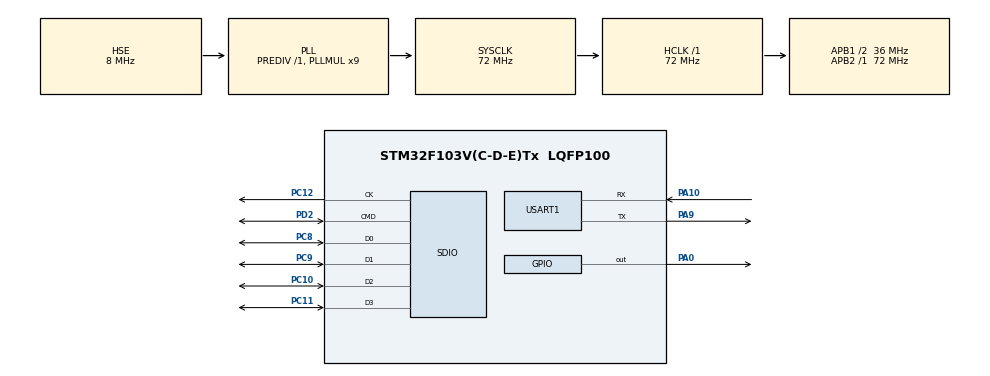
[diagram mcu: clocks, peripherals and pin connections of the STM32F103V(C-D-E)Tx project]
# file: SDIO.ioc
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Dma.Request0=USART1_RX
Dma.Request1=SDIO
Dma.SDIO.1.Direction=DMA_PERIPH_TO_MEMORY
Dma.SDIO.1.Instance=DMA2_Channel4
Dma.SDIO.1.MemDataAlignment=DMA_MDATAALIGN_WORD
Dma.SDIO.1.MemInc=DMA_MINC_ENABLE
Dma.SDIO.1.Mode=DMA_NORMAL
Dma.SDIO.1.PeriphDataAlignment=DMA_PDATAALIGN_WORD
Dma.SDIO.1.PeriphInc=DMA_PINC_DISABLE
Dma.SDIO.1.Priority=DMA_PRIORITY_LOW
Dma.USART1_RX.0.Direction=DMA_PERIPH_TO_MEMORY
Dma.USART1_RX.0.Instance=DMA1_Channel5
Dma.USART1_RX.0.MemDataAlignment=DMA_MDATAALIGN_BYTE
Dma.USART1_RX.0.MemInc=DMA_MINC_ENABLE
Dma.USART1_RX.0.Mode=DMA_NORMAL
Dma.USART1_RX.0.PeriphDataAlignment=DMA_PDATAALIGN_BYTE
Dma.USART1_RX.0.PeriphInc=DMA_PINC_DISABLE
Dma.USART1_RX.0.Priority=DMA_PRIORITY_LOW
Mcu.Family=STM32F1
Mcu.Name=STM32F103V(C-D-E)Tx
Mcu.Package=LQFP100
NVIC.DMA1_Channel5_IRQn=true\:0\:0\:false\:false\:true\:false\:true\:true
NVIC.DMA2_Channel4_5_IRQn=true\:0\:0\:false\:false\:true\:false\:true\:true
NVIC.PriorityGroup=NVIC_PRIORITYGROUP_4
NVIC.SDIO_IRQn=true\:0\:0\:false\:false\:true\:true\:true\:true
NVIC.USART1_IRQn=true\:0\:0\:false\:false\:true\:true\:true\:true
OSC_IN.Mode=HSE-External-Oscillator
OSC_IN.Signal=RCC_OSC_IN
OSC_OUT.Mode=HSE-External-Oscillator
OSC_OUT.Signal=RCC_OSC_OUT
PA0-WKUP.GPIO_ModeDefaultOutputPP=GPIO_MODE_OUTPUT_PP
PA0-WKUP.PinState=GPIO_PIN_SET
PA0-WKUP.Signal=GPIO_Output
PA10.Mode=Asynchronous
PA10.Signal=USART1_RX
PA13.Mode=Serial_Wire
PA13.Signal=SYS_JTMS-SWDIO
PA14.Mode=Serial_Wire
PA14.Signal=SYS_JTCK-SWCLK
PA9.Mode=Asynchronous
PA9.Signal=USART1_TX
PC10.Mode=SD_4_bits_Wide_bus
PC10.Signal=SDIO_D2
PC11.Mode=SD_4_bits_Wide_bus
PC11.Signal=SDIO_D3
PC12.Mode=SD_4_bits_Wide_bus
PC12.Signal=SDIO_CK
PC14-OSC32_IN.Mode=LSE-External-Oscillator
PC14-OSC32_IN.Signal=RCC_OSC32_IN
PC15-OSC32_OUT.Mode=LSE-External-Oscillator
PC15-OSC32_OUT.Signal=RCC_OSC32_OUT
PC8.Mode=SD_4_bits_Wide_bus
PC8.Signal=SDIO_D0
PC9.Mode=SD_4_bits_Wide_bus
PC9.Signal=SDIO_D1
PD2.Mode=SD_4_bits_Wide_bus
PD2.Signal=SDIO_CMD
ProjectManager.HeapSize=0x200
ProjectManager.StackSize=0x400
ProjectManager.TargetToolchain=MDK-ARM V5
RCC.AHBFreq_Value=72000000
RCC.APB1CLKDivider=RCC_HCLK_DIV2
RCC.APB1Freq_Value=36000000
RCC.APB1TimFreq_Value=72000000
RCC.APB2Freq_Value=72000000
RCC.APB2TimFreq_Value=72000000
RCC.HCLKFreq_Value=72000000
RCC.PLLMUL=RCC_PLL_MUL9
RCC.PLLSourceVirtual=RCC_PLLSOURCE_HSE
RCC.SYSCLKFreq_VALUE=72000000
RCC.SYSCLKSource=RCC_SYSCLKSOURCE_PLLCLK
RCC.USBFreq_Value=72000000
SDIO.ClockDiv=6
USART1.VirtualMode=VM_ASYNC
VP_FATFS_VS_SDIO.Mode=SDIO
board=custom

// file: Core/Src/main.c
/* USER CODE BEGIN Header */
/**
  ******************************************************************************
  * @file           : main.c
  * @brief          : Main program body
  * @author         : MCU Electronics Technology
  * @version        : V1.0
  * @date           : 2024-01-01
  * @note           : UART DMA Demo with IDLE detection
  ******************************************************************************
  */
/* USER CODE END Header */
#include "main.h"
#include "dma.h"
#include "fatfs.h"
#include "sdio.h"
#include "usart.h"
#include "gpio.h"

/* USER CODE BEGIN Includes */
#include "stdio.h"
#include "string.h"
#include "ff.h"
/* USER CODE END Includes */

/* USER CODE BEGIN PV */
uint8_t bsp_uart0_rx_buff[USART_BUFFER_SIZE];

FATFS fs;                       /* FatFs 文件系统对象 */
FIL file;                       /* 文件对象 */
FRESULT f_res;                  /* 文件操作结果 */
UINT fnum;                      /* 文件成功读写数量 */
BYTE ReadBuffer[1024] = {0};    /* 读缓冲区 */
BYTE WriteBuffer[] =            /* 写缓冲区 */
    "This is MCU Electronics Technology STM32 working with FatFs\r\n"
    "Board: Mcore_MainBoard V1.0\r\n";

HAL_SD_CardInfoTypeDef SDCardInfo;  /* SD卡信息结构体 */
char sd_info_buffer[100];           /* SD卡信息显示缓冲区 */
const TCHAR *FILE_PATH = "0:/test.txt";  /* 文件路径（注意：使用正斜杠） */

/* USER CODE END PV */

void SystemClock_Config(void);

/* USER CODE BEGIN 0 */
void HAL_UARTEx_RxEventCallback(UART_HandleTypeDef *huart, uint16_t Size)
{
    if(huart->Instance == USART1)
    {
        // Add string terminator to the end of received data
        bsp_uart0_rx_buff[Size] = '\0';

        // Echo received data with proper format
        printf("[UART] Recv: %s", bsp_uart0_rx_buff);

        // If the received data doesn't end with \r\n, add it
        if (Size < 2 || bsp_uart0_rx_buff[Size-2] != '\r' || bsp_uart0_rx_buff[Size-1] != '\n') {
            printf("\r\n");
        }

        // Restart DMA reception
        HAL_UARTEx_ReceiveToIdle_DMA(&huart1, bsp_uart0_rx_buff, USART_BUFFER_SIZE);
        __HAL_DMA_DISABLE_IT(&hdma_usart1_rx, DMA_IT_HT);
    }
}

#ifdef __GNUC__
#define PUTCHAR_PROTOTYPE int __io_putchar(int ch)
#else
#define PUTCHAR_PROTOTYPE int fputc(int ch, FILE *f)
#endif

// Redirect printf to UART
PUTCHAR_PROTOTYPE
{
    HAL_UART_Transmit(&huart1, (uint8_t *)&ch, 1, HAL_MAX_DELAY);
    return ch;
}
/* USER CODE END 0 */

int main(void)
{

  /* MCU Configuration--------------------------------------------------------*/

  /* Reset of all peripherals, Initializes the Flash interface and the Systick. */
  HAL_Init();

  /* Configure the system clock */
  SystemClock_Config();

  /* Initialize all configured peripherals */
  MX_GPIO_Init();
  MX_DMA_Init();
  MX_USART1_UART_Init();
  MX_SDIO_SD_Init();
  MX_FATFS_Init();
  /* USER CODE BEGIN 2 */

  printf("\r\n");
  printf("************************************************\r\n");
  printf("*        MCU Electronics Technology Co.         *\r\n");
  printf("*          Mcore_MainBoard V1.0                *\r\n");
  printf("*     Website: https://gitee.com/Ahypnis        *\r\n");
  printf("************************************************\r\n");
  printf("UART Configuration:\r\n");
  printf("- Baud Rate: 115200\r\n");
  printf("- Data Bits: 8\r\n");
  printf("- Stop Bits: 1\r\n");
  printf("- Parity: None\r\n");
  printf("\r\n");

  printf("=================== SD Card Test ===================\r\n");

  // 初始化SD卡
  printf("Step 1: Initializing SD Card\r\n");
  if(HAL_SD_Init(&hsd) != HAL_OK)
  {
      printf(">> SD Card initialization failed!\r\n");
      Error_Handler();
  }

  // 获取并显示SD卡信息
  printf("\r\nStep 2: Reading SD Card Information\r\n");
  if(HAL_SD_GetCardInfo(&hsd, &SDCardInfo) == HAL_OK)
  {
      printf(">> SD Card Information:\r\n");
      printf("- Card Type: ");
      switch(SDCardInfo.CardType)
      {
          case CARD_SDSC: printf("SDSC Card\r\n"); break;
          case CARD_SDHC_SDXC: printf("SDHC/SDXC Card\r\n"); break;
          default: printf("Unknown Card\r\n");
      }
      printf("- Card Version: %d\r\n", (int)SDCardInfo.CardVersion);
      printf("- Card Class: %d\r\n", (int)SDCardInfo.Class);
      printf("- Card Capacity: %d MB\r\n", (int)(SDCardInfo.BlockNbr / 2048)); // 转换为MB
      printf("- Block Size: %d Bytes\r\n", (int)SDCardInfo.BlockSize);
      printf("- Block Numbers: %d\r\n", (int)SDCardInfo.BlockNbr);

      // 验证卡信息是否有效
      if(SDCardInfo.BlockSize == 0 || SDCardInfo.BlockNbr == 0)
      {
          printf(">> Warning: Invalid card parameters detected!\r\n");
      }
  }
  else
  {
      printf(">> Failed to get SD card information!\r\n");
      Error_Handler();
  }
  printf("\r\n");

  // Start DMA reception
  HAL_UARTEx_ReceiveToIdle_DMA(&huart1, bsp_uart0_rx_buff, USART_BUFFER_SIZE);
  __HAL_DMA_DISABLE_IT(&hdma_usart1_rx, DMA_IT_HT);  // Disable DMA half transfer interrupt

  printf("=============== FatFs Test Start ================\r\n");

  //在外部 SD 卡挂载文件系统，文件系统挂载时会对 SD 卡初始化
  printf("Step 3: Mounting File System\r\n");
  f_res = f_mount(&fs, "0:", 1);

  /*----------------------- 格式化测试 ---------------------------*/
  if(f_res == FR_NO_FILESYSTEM)
  {
      printf("No file system detected, formatting SD card...\r\n");
      /* 格式化 */
      BYTE sfd = 1;      /* 使用SFD分区方式 */
      UINT au = 0;       /* 自动选择簇大小 */

      f_res = f_mkfs("0:", sfd, au);
      if(f_res == FR_OK)
      {
          printf(">> Format successful!\r\n");
          /* 格式化后，先取消挂载 */
          f_res = f_mount(NULL, "0:", 1);
          /* 重新挂载 */
          f_res = f_mount(&fs, "0:", 1);
      }
      else
      {
          printf(">> Format failed! Error code: %d\r\n", f_res);
          printf("Error details: ");
          switch(f_res) {
              case FR_NOT_READY: printf("SD card not ready or not present\r\n"); break;
              case FR_DISK_ERR: printf("Hard error occurred in low level disk I/O\r\n"); break;
              case FR_WRITE_PROTECTED: printf("SD card is write protected\r\n"); break;
              default: printf("Unknown error\r\n");
          }
          Error_Handler();
      }
  }
  else if(f_res != FR_OK)
  {
      printf(">> Mount failed! Error code: %d\r\n", f_res);
      printf("Error details: ");
      switch(f_res) {
          case FR_NOT_READY: printf("SD card not ready or not present\r\n"); break;
          case FR_DISK_ERR: printf("Hard error occurred in low level disk I/O\r\n"); break;
          case FR_INVALID_DRIVE: printf("Invalid drive number\r\n"); break;
          default: printf("Unknown error\r\n");
      }
      Error_Handler();
  }
  else
  {
      printf(">> Mount successful!\r\n");

      // 显示可用空间信息
      DWORD fre_clust, fre_sect, tot_sect;
      FATFS *fs_ptr = &fs;
      f_res = f_getfree("0:", &fre_clust, &fs_ptr);
      if(f_res == FR_OK) {
          tot_sect = (fs_ptr->n_fatent - 2) * fs_ptr->csize;
          fre_sect = fre_clust * fs_ptr->csize;
          printf("SD Card Space Info:\r\n");
          printf("- Total Space: %lu MB\r\n", tot_sect / 2048);
          printf("- Free Space: %lu MB\r\n", fre_sect / 2048);
          printf("- Used Space: %lu MB\r\n", (tot_sect - fre_sect) / 2048);
      }
  }
  printf("\r\n");

  /*----------------------- 文件系统测试：写测试 -----------------------------*/
  /* 打开文件，如果文件不存在则创建它 */
  printf("Step 4: File Write Test\r\n");
  printf("Creating file: %s\r\n", FILE_PATH);

  f_res = f_open(&file, FILE_PATH, FA_CREATE_ALWAYS | FA_WRITE);
  if(f_res == FR_OK)
  {
      printf(">> File created successfully\r\n");
      /* 将指定存储区内容写入到文件内 */
      f_res = f_write(&file, WriteBuffer, strlen((char *)WriteBuffer), &fnum);
      if(f_res == FR_OK)
      {
          printf(">> Write successful! (%d bytes)\r\n", fnum);
          printf("Written content:\r\n%s\r\n", WriteBuffer);
      }
      else
      {
          printf(">> Write failed! Error code: %d\r\n", f_res);
          printf("Error details: ");
          switch(f_res) {
              case FR_DISK_ERR: printf("Hard error occurred in low level disk I/O\r\n"); break;
              case FR_INT_ERR: printf("Internal error occurred\r\n"); break;
              case FR_DENIED: printf("Access denied\r\n"); break;
              default: printf("Unknown error\r\n");
          }
      }
      /* 确保数据写入到磁盘 */
      f_sync(&file);
      /* 不再读写，关闭文件 */
      f_close(&file);
  }
  else
  {
      printf(">> File creation failed! Error code: %d\r\n", f_res);
      printf("Error details: ");
      switch(f_res) {
          case FR_DISK_ERR: printf("Hard error occurred in low level disk I/O\r\n"); break;
          case FR_INT_ERR: printf("Internal error occurred\r\n"); break;
          case FR_NOT_READY: printf("SD card not ready\r\n"); break;
          case FR_NO_FILE: printf("Could not find the file\r\n"); break;
          case FR_NO_PATH: printf("Could not find the path\r\n"); break;
          case FR_INVALID_NAME: printf("Invalid file name\r\n"); break;
          case FR_DENIED: printf("Access denied\r\n"); break;
          case FR_EXIST: printf("File exists\r\n"); break;
          case FR_WRITE_PROTECTED: printf("Write protected\r\n"); break;
          default: printf("Unknown error\r\n");
      }
  }
  printf("\r\n");

  /*------------------- 文件系统测试：读测试 ------------------------------------*/
  printf("Step 5: File Read Test\r\n");
  printf("Opening file: %s\r\n", FILE_PATH);

  f_res = f_open(&file, FILE_PATH, FA_OPEN_EXISTING | FA_READ);
  if(f_res == FR_OK)
  {
      printf(">> File opened successfully\r\n");
      f_res = f_read(&file, ReadBuffer, sizeof(ReadBuffer), &fnum);
      if(f_res == FR_OK)
      {
          ReadBuffer[fnum] = '\0';  // 确保字符串正确终止
          printf(">> Read successful! (%d bytes)\r\n", fnum);
          printf("Read content:\r\n%s\r\n", ReadBuffer);
      }
      else
      {
          printf(">> Read failed! Error code: %d\r\n", f_res);
          printf("Error details: ");
          switch(f_res) {
              case FR_DISK_ERR: printf("Hard error occurred in low level disk I/O\r\n"); break;
              case FR_INT_ERR: printf("Internal error occurred\r\n"); break;
              case FR_DENIED: printf("Access denied\r\n"); break;
              default: printf("Unknown error\r\n");
          }
      }
  }
  else
  {
      printf(">> File open failed! Error code: %d\r\n", f_res);
      printf("Error details: ");
      switch(f_res) {
          case FR_DISK_ERR: printf("Hard error occurred in low level disk I/O\r\n"); break;
          case FR_INT_ERR: printf("Internal error occurred\r\n"); break;
          case FR_NOT_READY: printf("SD card not ready\r\n"); break;
          case FR_NO_FILE: printf("Could not find the file\r\n"); break;
          case FR_NO_PATH: printf("Could not find the path\r\n"); break;
          case FR_INVALID_NAME: printf("Invalid file name\r\n"); break;
          case FR_DENIED: printf("Access denied\r\n"); break;
          default: printf("Unknown error\r\n");
      }
  }
  /* 不再读写，关闭文件 */
  f_close(&file);
  /* 不再使用文件系统，取消挂载文件系统 */
  f_mount(NULL, "0:", 1);

  printf("\r\n================ Test Complete ==================\r\n");
  printf("System is ready. Please input any characters...\r\n\r\n");

  /* USER CODE END 2 */

  /* Infinite loop */
  while (1)
  {

    /* USER CODE BEGIN 3 */
    HAL_GPIO_TogglePin(GPIOA, GPIO_PIN_0);  // Toggle LED to indicate system is running
    HAL_Delay(500);  // Blink every 500ms
  }
  /* USER CODE END 3 */
}

void SystemClock_Config(void)
{
  RCC_OscInitTypeDef RCC_OscInitStruct = {0};
  RCC_ClkInitTypeDef RCC_ClkInitStruct = {0};

  /** Initializes the RCC Oscillators according to the specified parameters
  * in the RCC_OscInitTypeDef structure.
  */
  RCC_OscInitStruct.OscillatorType = RCC_OSCILLATORTYPE_HSE;
  RCC_OscInitStruct.HSEState = RCC_HSE_ON;
  RCC_OscInitStruct.HSEPredivValue = RCC_HSE_PREDIV_DIV1;
  RCC_OscInitStruct.HSIState = RCC_HSI_ON;
  RCC_OscInitStruct.PLL.PLLState = RCC_PLL_ON;
  RCC_OscInitStruct.PLL.PLLSource = RCC_PLLSOURCE_HSE;
  RCC_OscInitStruct.PLL.PLLMUL = RCC_PLL_MUL9;
  if (HAL_RCC_OscConfig(&RCC_OscInitStruct) != HAL_OK)
  {
    Error_Handler();
  }

  /** Initializes the CPU, AHB and APB buses clocks
  */
  RCC_ClkInitStruct.ClockType = RCC_CLOCKTYPE_HCLK|RCC_CLOCKTYPE_SYSCLK
                              |RCC_CLOCKTYPE_PCLK1|RCC_CLOCKTYPE_PCLK2;
  RCC_ClkInitStruct.SYSCLKSource = RCC_SYSCLKSOURCE_PLLCLK;
  RCC_ClkInitStruct.AHBCLKDivider = RCC_SYSCLK_DIV1;
  RCC_ClkInitStruct.APB1CLKDivider = RCC_HCLK_DIV2;
  RCC_ClkInitStruct.APB2CLKDivider = RCC_HCLK_DIV1;

  if (HAL_RCC_ClockConfig(&RCC_ClkInitStruct, FLASH_LATENCY_2) != HAL_OK)
  {
    Error_Handler();
  }
}

void Error_Handler(void)
{
  __disable_irq();
  while (1)
  {
  }
}
